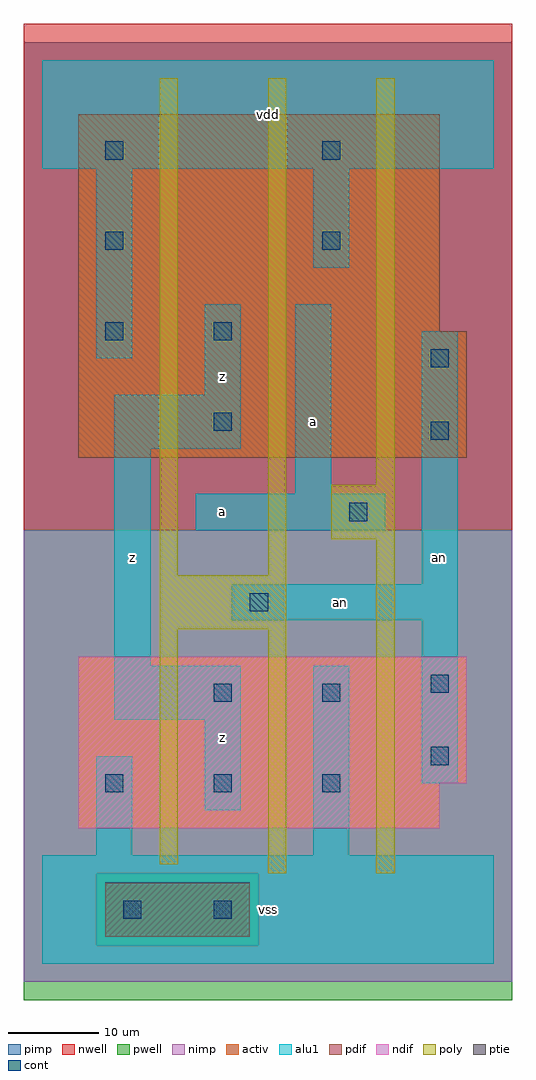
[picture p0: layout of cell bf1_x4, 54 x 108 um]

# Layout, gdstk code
import gdstk
lib = gdstk.Library(unit=1e-6, precision=1e-09)
def R(c, l, rs):  # rectangles x0, y0, x1, y1
    for r in rs: c.add(gdstk.rectangle(r[:2], r[2:], *l))
def A(c, l, x, y, w, h, nx, ny, dx, dy):  # array of equal rectangles
    R(c, l, [(x+i*dx, y+j*dy, x+i*dx+w, y+j*dy+h) for i in range(nx) for j in range(ny)])
ndif = (3, 0)
pdif = (4, 0)
ptie = (6, 0)
cont = (25, 0)
pwell = (41, 0)
nwell = (42, 0)
activ = (43, 0)
pimp = (44, 0)
nimp = (45, 0)
poly = (46, 0)
alu1 = (49, 0)

bf1_x4 = lib.new_cell('bf1_x4')
R(bf1_x4, ndif, [(4,15,44,20), (4,20,47,34)])
R(bf1_x4, pdif, [(4,56,47,70), (4,70,44,94)])
R(bf1_x4, ptie, [(7,3,23,9)])
A(bf1_x4, cont, 7, 19, 2, 2, 3, 1, 12, 0)
A(bf1_x4, cont, 7, 69, 2, 2, 1, 3, 0, 10)
R(bf1_x4, cont, [(9,5,11,7), (19,5,21,7), (43,22,45,24), (19,29,21,31), (31,29,33,31), (43,30,45,32), (23,39,25,41), (34,49,36,51), (43,58,45,60), (19,59,21,61), (43,66,45,68), (19,69,21,71), (31,79,33,81), (31,89,33,91)])
R(bf1_x4, pwell, [(-2,-4,52,48)])
R(bf1_x4, nwell, [(-2,48,52,104)])
R(bf1_x4, activ, [(7,3,23,9), (4,15,44,20), (4,20,47,34), (4,56,47,70), (4,70,44,94)])
R(bf1_x4, pimp, [(6,2,24,10), (-2,48,52,102)])
R(bf1_x4, nimp, [(-2,-2,52,2), (-2,2,6,10), (24,2,52,10), (-2,10,52,48)])
R(bf1_x4, poly, [(25,10,27,37), (37,10,39,47), (13,11,15,37), (13,37,27,43), (13,43,15,98), (25,43,27,98), (32,47,39,53), (37,53,39,98)])
R(bf1_x4, alu1, [(0,0,50,12), (6,12,10,23), (30,12,34,33), (18,17,22,27), (42,20,46,38), (8,27,22,33), (8,33,12,57), (21,38,46,42), (42,42,46,70), (17,48,38,52), (28,52,32,73), (8,57,22,63), (18,63,22,73), (6,67,10,88), (30,77,34,88), (0,88,50,100)])
bf1_x4.add(gdstk.Label('z', (20,25), layer=49, texttype=0))
bf1_x4.add(gdstk.Label('z', (10,45), layer=49, texttype=0))
bf1_x4.add(gdstk.Label('a', (20,50), layer=49, texttype=0))
bf1_x4.add(gdstk.Label('z', (20,65), layer=49, texttype=0))
bf1_x4.add(gdstk.Label('vss', (25,6), layer=49, texttype=0))
bf1_x4.add(gdstk.Label('a', (30,60), layer=49, texttype=0))
bf1_x4.add(gdstk.Label('vdd', (25,94), layer=49, texttype=0))
bf1_x4.add(gdstk.Label('an', (33,40), layer=49, texttype=0))
bf1_x4.add(gdstk.Label('an', (44,45), layer=49, texttype=0))

lib.write_gds('bf1_x4.gds')
